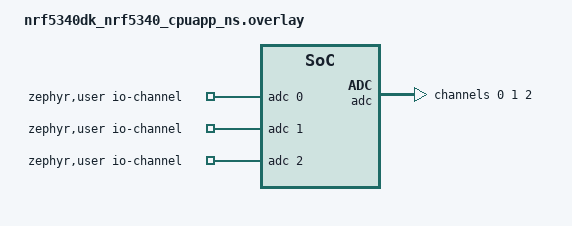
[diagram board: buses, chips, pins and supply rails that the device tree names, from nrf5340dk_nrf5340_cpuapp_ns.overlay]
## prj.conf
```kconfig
#
# Copyright (c) 2018 Nordic Semiconductor
#
# SPDX-License-Identifier: LicenseRef-Nordic-5-Clause
#

# Logger module
CONFIG_LOG=y

# Button and LED library   
CONFIG_DK_LIBRARY=y

CONFIG_ADC=y

# Button and LED library
CONFIG_DK_LIBRARY=y

# Bluetooth LE
CONFIG_BT=y
CONFIG_BT_PERIPHERAL=y
CONFIG_BT_DEVICE_NAME="SAMPYLI"

# Increase stack size for the main thread and System Workqueue
CONFIG_SYSTEM_WORKQUEUE_STACK_SIZE=2048
CONFIG_MAIN_STACK_SIZE=2048
```

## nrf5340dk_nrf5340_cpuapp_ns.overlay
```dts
// To get started, press Ctrl+Space to bring up the completion menu and view the available nodes.

// You can also use the buttons in the sidebar to perform actions on nodes.
// Actions currently available include:

// * Enabling / disabling the node
// * Adding the bus to a bus
// * Removing the node
// * Connecting ADC channels

// For more help, browse the DeviceTree documentation at https://docs.zephyrproject.org/latest/guides/dts/index.html
// You can also visit the nRF DeviceTree extension documentation at https://nrfconnect.github.io/vscode-nrf-connect/devicetree/nrfdevicetree.html

/{
	zephyr,user {
		io-channels = <&adc 0>, <&adc 1>, <&adc 2>;
	};
};

&adc {
	status = "okay";
	#address-cells = <1>;
	#size-cells = <0>;

	channel@0 {
		reg = <0>;
		zephyr,gain = "ADC_GAIN_1_6";
		zephyr,reference = "ADC_REF_INTERNAL";
		zephyr,acquisition-time = <ADC_ACQ_TIME_DEFAULT>;
		zephyr,input-positive = <NRF_SAADC_AIN0>; /* P0.03 */
		zephyr,resolution = <12>;
	};

	channel@1 {
		reg = <1>;
		zephyr,gain = "ADC_GAIN_1_6";
		zephyr,reference = "ADC_REF_INTERNAL";
		zephyr,acquisition-time = <ADC_ACQ_TIME_DEFAULT>;
		zephyr,input-positive = <NRF_SAADC_AIN1>;
		zephyr,resolution = <12>;
		//zephyr,oversampling = <8>;
	};

	channel@2 {
		reg = <2>;
		zephyr,gain = "ADC_GAIN_1_6";
		zephyr,reference = "ADC_REF_INTERNAL";
		zephyr,acquisition-time = <ADC_ACQ_TIME_DEFAULT>;
		zephyr,input-positive = <NRF_SAADC_AIN2>;
		zephyr,resolution = <12>;
		//zephyr,oversampling = <8>;
	};


};
```

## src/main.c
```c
/*
 * Copyright (c) 2023 Nordic Semiconductor ASA
 *
 * SPDX-License-Identifier: LicenseRef-Nordic-5-Clause
 */

#include <zephyr/kernel.h>
#include <zephyr/logging/log.h>
#include <zephyr/bluetooth/bluetooth.h>
#include <zephyr/bluetooth/gap.h>
#include <zephyr/bluetooth/uuid.h>
#include <zephyr/bluetooth/conn.h>
#include <inttypes.h>
#include <stddef.h>
#include <stdint.h>
#include <zephyr/sys/printk.h>
#include <zephyr/sys/util.h>
#include <zephyr/drivers/gpio.h>
#include <dk_buttons_and_leds.h>
#include "my_lbs.h"
#include <zephyr/sys/printk.h>
#include "adc.h"

static struct bt_le_adv_param *adv_param = BT_LE_ADV_PARAM(
	(BT_LE_ADV_OPT_CONNECTABLE |
	 BT_LE_ADV_OPT_USE_IDENTITY), /* Connectable advertising and use identity address */
	800,						  /* Min Advertising Interval 500ms (800*0.625ms) */
	801,						  /* Max Advertising Interval 500.625ms (801*0.625ms) */
	NULL);						  /* Set to NULL for undirected advertising */

LOG_MODULE_REGISTER(Lesson4_Exercise2, LOG_LEVEL_INF);

#define DEVICE_NAME CONFIG_BT_DEVICE_NAME
#define DEVICE_NAME_LEN (sizeof(DEVICE_NAME) - 1)

#define RUN_STATUS_LED DK_LED1
#define CON_STATUS_LED DK_LED2
#define USER_LED DK_LED3
#define USER_BUTTON DK_BTN1_MSK

#define STACKSIZE 1024
#define PRIORITY 7

#define RUN_LED_BLINK_INTERVAL 1000
/* STEP 17 - Define the interval at which you want to send data at */
#define NOTIFY_INTERVAL 500
static bool app_button_state;
static int suunta = 0;
/* STEP 15 - Define the data you want to stream over Bluetooth LE */
static uint32_t app_sensor_value = 0;

static const struct bt_data ad[] = {
	BT_DATA_BYTES(BT_DATA_FLAGS, (BT_LE_AD_GENERAL | BT_LE_AD_NO_BREDR)),
	BT_DATA(BT_DATA_NAME_COMPLETE, DEVICE_NAME, DEVICE_NAME_LEN),

};

static const struct bt_data sd[] = {
	BT_DATA_BYTES(BT_DATA_UUID128_ALL, BT_UUID_LBS_VAL),
};

static const struct gpio_dt_spec button = GPIO_DT_SPEC_GET(DT_NODELABEL(button0), gpios);

/* STEP 16 - Define a function to simulate the data */
static void simulate_data(void)
{
    if (initializeADC() != 0)
    {
        printk("ADC initialization failed!");
        return;
    }

}

static void app_led_cb(bool led_state)
{
	dk_set_led(USER_LED, led_state);
}

static bool app_button_cb(void)
{
	return app_button_state;
}

/* STEP 18.1 - Define the thread function */
void send_data_thread(void)
{
    while (1)
    {
        struct Measurement m = readADCValue();
        int val = gpio_pin_get_dt(&button); // Getting the state of the button
        if (val < 0) {
			printk("suunta = %d\n", suunta);
            printk("Error reading button state: %d\n", val);
            // Handle error or continue
        }

        if (val > 0) { // If button is pressed (assuming high state is 'pressed')
            if (suunta < 5) {
				printk("suunta = %d\n", suunta);
                suunta++;
            } else {
				printk("suunta = %d\n", suunta);
                suunta = 1;
            }
        }

        LOG_DBG("x = %d,  y = %d,  z = %d\n", m.x, m.y, m.z);

        // Deconstruct the struct and send the values one at a time
        for (int i = 0; i < 4; i++) {
            if (i == 0) {
                app_sensor_value = m.x;
                my_lbs_send_sensor_notify(app_sensor_value);
                printk("x = %d\n", m.x);
            }
            else if (i == 1) {
                app_sensor_value = m.y;
                my_lbs_send_sensor_notify(app_sensor_value);
                printk("y = %d\n", m.y);
            }
            else if (i == 2) {
                app_sensor_value = m.z;
                my_lbs_send_sensor_notify(app_sensor_value);
                printk("z = %d\n", m.z);
            }
            else if (i == 3) {
                app_sensor_value = suunta;
                my_lbs_send_sensor_notify(app_sensor_value);
                printk("suunta = %d\n", suunta);
            }
        }

        k_sleep(K_MSEC(NOTIFY_INTERVAL));
    }
}

static struct my_lbs_cb app_callbacks = {
	.led_cb = app_led_cb,
	.button_cb = app_button_cb,
};

static void button_changed(uint32_t button_state, uint32_t has_changed)
{
	if (has_changed & USER_BUTTON)
	{
		uint32_t user_button_state = button_state & USER_BUTTON;
		/* STEP 6 - Send indication on a button press */
		my_lbs_send_button_state_indicate(user_button_state);
		app_button_state = user_button_state ? true : false;
	}
}
static void on_connected(struct bt_conn *conn, uint8_t err)
{
	if (err)
	{
		printk("Connection failed (err %u)\n", err);
		return;
	}

	printk("Connected\n");

	dk_set_led_on(CON_STATUS_LED);
}

static void on_disconnected(struct bt_conn *conn, uint8_t reason)
{
	printk("Disconnected (reason %u)\n", reason);

	dk_set_led_off(CON_STATUS_LED);
}

struct bt_conn_cb connection_callbacks = {
	.connected = on_connected,
	.disconnected = on_disconnected,
};

static int init_button(void)
{
    int err;

    if (!device_is_ready(button.port)) {
        printk("Error: button device %s is not ready\n", button.port->name);
        return -ENODEV;
    }

    err = gpio_pin_configure_dt(&button, GPIO_INPUT);
    if (err) {
        printk("Error %d: failed to configure %s pin %d\n", 
               err, button.port->name, button.pin);
        return err;
    }

	return err;
}

void main(void)
{
	int blink_status = 0;
	int err;

	LOG_INF("Starting Lesson 4 - Exercise 2 \n");

	err = dk_leds_init();
	if (err)
	{
		LOG_ERR("LEDs init failed (err %d)\n", err);
		return;
	}

	err = init_button();
	if (err)
	{
		printk("Button init failed (err %d)\n", err);
		return;
	}

	err = bt_enable(NULL);
	if (err)
	{
		LOG_ERR("Bluetooth init failed (err %d)\n", err);
		return;
	}
	bt_conn_cb_register(&connection_callbacks);

	err = my_lbs_init(&app_callbacks);
	if (err)
	{
		printk("Failed to init LBS (err:%d)\n", err);
		return;
	}
	LOG_INF("Bluetooth initialized\n");
	err = bt_le_adv_start(adv_param, ad, ARRAY_SIZE(ad), sd, ARRAY_SIZE(sd));
	if (err)
	{
		LOG_ERR("Advertising failed to start (err %d)\n", err);
		return;
	}

	LOG_INF("Advertising successfully started\n");
	for (;;)
	{
		dk_set_led(RUN_STATUS_LED, (++blink_status) % 2);
		k_sleep(K_MSEC(RUN_LED_BLINK_INTERVAL));

		if (initializeADC() != 0)
		{
			printk("ADC initialization failed!");
			return;
		}

		struct Measurement m = readADCValue();
		LOG_INF("x = %d,  y = %d,  z = %d\n", m.x, m.y, m.z);

		k_sleep(K_MSEC(1000));
	}
}
/* STEP 18.2 - Define and initialize a thread to send data periodically */
K_THREAD_DEFINE(send_data_thread_id, STACKSIZE, send_data_thread, NULL, NULL, NULL, PRIORITY, 0, 0);
```

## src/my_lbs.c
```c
/*
 * Copyright (c) 2018 Nordic Semiconductor ASA
 *
 * SPDX-License-Identifier: LicenseRef-Nordic-5-Clause
 */

/** @file
 *  @brief LED Button Service (LBS) sample
 */

#include <zephyr/types.h>
#include <stddef.h>
#include <string.h>
#include <errno.h>
#include <zephyr/sys/printk.h>
#include <zephyr/sys/byteorder.h>
#include <zephyr/kernel.h>
#include <zephyr/logging/log.h>
#include <zephyr/bluetooth/bluetooth.h>
#include <zephyr/bluetooth/hci.h>
#include <zephyr/bluetooth/conn.h>
#include <zephyr/bluetooth/uuid.h>
#include <zephyr/bluetooth/gatt.h>

#include "adc.h"

#include "my_lbs.h"

LOG_MODULE_DECLARE(Lesson4_Exercise2);

static bool notify_enabled;
static bool notify_mysensor_enabled;
static bool indicate_enabled;
static bool button_state;
static struct my_lbs_cb lbs_cb;

/* STEP 4 - Define an indication parameter */
static struct bt_gatt_indicate_params ind_params;

/* STEP 3 - Implement the configuration change callback function */
static void mylbsbc_ccc_cfg_changed(const struct bt_gatt_attr *attr, uint16_t value)
{
	indicate_enabled = (value == BT_GATT_CCC_INDICATE);
}

/* STEP 13 - Define the configuration change callback function for the MYSENSOR characteristic */
static void mylbsbc_ccc_mysensor_cfg_changed(const struct bt_gatt_attr *attr, uint16_t value)
{
	notify_mysensor_enabled = (value == BT_GATT_CCC_NOTIFY);
}

// This function is called when a remote device has acknowledged the indication at its host layer
static void indicate_cb(struct bt_conn *conn, struct bt_gatt_indicate_params *params, uint8_t err)
{
	LOG_DBG("Indication %s\n", err != 0U ? "fail" : "success");
}
static ssize_t write_led(struct bt_conn *conn, const struct bt_gatt_attr *attr, const void *buf,
						 uint16_t len, uint16_t offset, uint8_t flags)
{

	if (len != 1U)
	{
		LOG_DBG("Write led: Incorrect data length");
		return BT_GATT_ERR(BT_ATT_ERR_INVALID_ATTRIBUTE_LEN);
	}

	if (offset != 0)
	{
		LOG_DBG("Write led: Incorrect data offset");
		return BT_GATT_ERR(BT_ATT_ERR_INVALID_OFFSET);
	}

	if (lbs_cb.led_cb)
	{
		// Read the received value
		uint8_t val = *((uint8_t *)buf);

		if (val == 0x00 || val == 0x01)
		{
			// Call the application callback function to update the LED state
			lbs_cb.led_cb(val ? true : false);
		}
		else
		{
			LOG_DBG("Write led: Incorrect value");
			return BT_GATT_ERR(BT_ATT_ERR_VALUE_NOT_ALLOWED);
		}
	}

	return len;
}

static ssize_t read_button(struct bt_conn *conn, const struct bt_gatt_attr *attr, void *buf,
						   uint16_t len, uint16_t offset)
{
	// get a pointer to button_state which is passed in the BT_GATT_CHARACTERISTIC() and stored in attr->user_data
	const char *value = attr->user_data;

	LOG_DBG("Attribute read, handle: %u, conn: %p", attr->handle, (void *)conn);

	if (lbs_cb.button_cb)
	{
		// Call the application callback function to update the get the current value of the button
		button_state = lbs_cb.button_cb();
		return bt_gatt_attr_read(conn, attr, buf, len, offset, value, sizeof(*value));
	}

	return 0;
}

/* LED Button Service Declaration */
BT_GATT_SERVICE_DEFINE(
	my_lbs_svc, BT_GATT_PRIMARY_SERVICE(BT_UUID_LBS),
	/* STEP 1 - Modify the Button characteristic declaration to support indication */
	BT_GATT_CHARACTERISTIC(BT_UUID_LBS_BUTTON, BT_GATT_CHRC_READ | BT_GATT_CHRC_INDICATE,
						   BT_GATT_PERM_READ, read_button, NULL, &button_state),
	/* STEP 2 - Create and add the Client Characteristic Configuration Descriptor */
	BT_GATT_CCC(mylbsbc_ccc_cfg_changed, BT_GATT_PERM_READ | BT_GATT_PERM_WRITE),

	BT_GATT_CHARACTERISTIC(BT_UUID_LBS_LED, BT_GATT_CHRC_WRITE, BT_GATT_PERM_WRITE, NULL,
						   write_led, NULL),
	/* STEP 12 - Create and add the MYSENSOR characteristic and its CCCD  */

	BT_GATT_CHARACTERISTIC(BT_UUID_LBS_MYSENSOR, BT_GATT_CHRC_NOTIFY, BT_GATT_PERM_NONE, NULL,
						   NULL, NULL),

	BT_GATT_CCC(mylbsbc_ccc_mysensor_cfg_changed, BT_GATT_PERM_READ | BT_GATT_PERM_WRITE),

);
/* A function to register application callbacks for the LED and Button characteristics  */
int my_lbs_init(struct my_lbs_cb *callbacks)
{
	if (callbacks)
	{
		lbs_cb.led_cb = callbacks->led_cb;
		lbs_cb.button_cb = callbacks->button_cb;
	}

	return 0;
}

/* STEP 5 - Define the function to send indications */
int my_lbs_send_button_state_indicate(bool button_state)
{
	if (!indicate_enabled)
	{
		return -EACCES;
	}
	ind_params.attr = &my_lbs_svc.attrs[2];
	ind_params.func = indicate_cb; // A remote device has ACKed at its host layer (ATT ACK)
	ind_params.destroy = NULL;
	ind_params.data = &button_state;
	ind_params.len = sizeof(button_state);
	return bt_gatt_indicate(NULL, &ind_params);
}

/* STEP 14 - Define the function to send notifications for the MYSENSOR characteristic */
int my_lbs_send_sensor_notify(uint32_t sensor_value)
{
	if (!notify_mysensor_enabled)
	{
		return -EACCES;
	}

	return bt_gatt_notify(NULL, &my_lbs_svc.attrs[7], &sensor_value, sizeof(sensor_value));
}
```

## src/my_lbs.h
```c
/*
 * Copyright (c) 2018 Nordic Semiconductor ASA
 *
 * SPDX-License-Identifier: LicenseRef-Nordic-5-Clause
 */

#ifndef BT_LBS_H_
#define BT_LBS_H_

/**@file
 * @defgroup bt_lbs LED Button Service API
 * @{
 * @brief API for the LED Button Service (LBS).
 */

#ifdef __cplusplus
extern "C" {
#endif

#include <zephyr/types.h>

/** @brief LBS Service UUID. */
#define BT_UUID_LBS_VAL BT_UUID_128_ENCODE(0x00001523, 0x1212, 0xefde, 0x1523, 0x785feabcd123)

/** @brief Button Characteristic UUID. */
#define BT_UUID_LBS_BUTTON_VAL                                                                     \
	BT_UUID_128_ENCODE(0x00001524, 0x1212, 0xefde, 0x1523, 0x785feabcd123)

/** @brief LED Characteristic UUID. */
#define BT_UUID_LBS_LED_VAL BT_UUID_128_ENCODE(0x00001525, 0x1212, 0xefde, 0x1523, 0x785feabcd123)

/* STEP 11.1 - Assign a UUID to the MYSENSOR characteristic */
/** @brief LED Characteristic UUID. */
#define BT_UUID_LBS_MYSENSOR_VAL                                                                   \
	BT_UUID_128_ENCODE(0x00001526, 0x1212, 0xefde, 0x1523, 0x785feabcd123)

#define BT_UUID_LBS BT_UUID_DECLARE_128(BT_UUID_LBS_VAL)
#define BT_UUID_LBS_BUTTON BT_UUID_DECLARE_128(BT_UUID_LBS_BUTTON_VAL)
#define BT_UUID_LBS_LED BT_UUID_DECLARE_128(BT_UUID_LBS_LED_VAL)
/* STEP 11.2 - Convert the array to a generic UUID */
#define BT_UUID_LBS_MYSENSOR BT_UUID_DECLARE_128(BT_UUID_LBS_MYSENSOR_VAL)

/** @brief Callback type for when an LED state change is received. */
typedef void (*led_cb_t)(const bool led_state);

/** @brief Callback type for when the button state is pulled. */
typedef bool (*button_cb_t)(void);

/** @brief Callback struct used by the LBS Service. */
struct my_lbs_cb {
	/** LED state change callback. */
	led_cb_t led_cb;
	/** Button read callback. */
	button_cb_t button_cb;
};

/** @brief Initialize the LBS Service.
 *
 * This function registers application callback functions with the My LBS
 * Service
 *
 * @param[in] callbacks Struct containing pointers to callback functions
 *			used by the service. This pointer can be NULL
 *			if no callback functions are defined.
 *
 *
 * @retval 0 If the operation was successful.
 *           Otherwise, a (negative) error code is returned.
 */
int my_lbs_init(struct my_lbs_cb *callbacks);

/** @brief Send the "hey there" string as indication.
 *
 * This function sends the "hey there" string to all connected peers.
 *
 * @retval 0 If the operation was successful.
 *           Otherwise, a (negative) error code is returned.
 */
int my_lbs_send_hey_there_indicate(void);

/** @brief Send the "hey there" string as notification.
 *
 * This function sends the "hey there" string to all connected peers.
 *
 * @retval 0 If the operation was successful.
 *           Otherwise, a (negative) error code is returned.
 */
int my_lbs_send_hey_there_notify(void);

#ifdef __cplusplus
}
#endif

/**
 * @}
 */

#endif
```
